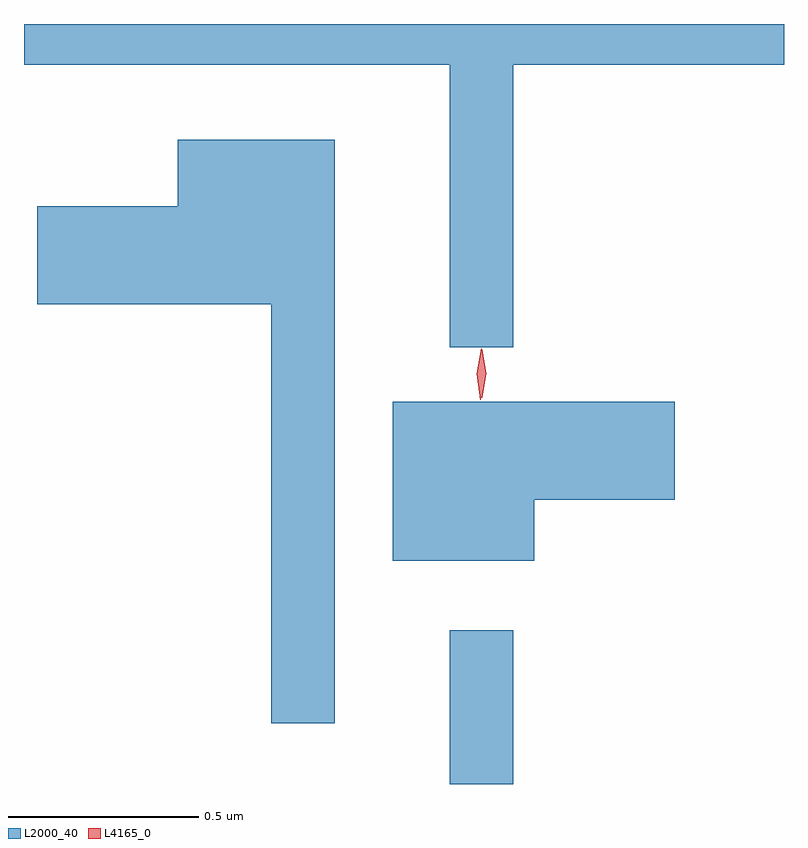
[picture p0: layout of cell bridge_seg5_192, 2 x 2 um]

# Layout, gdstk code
import gdstk
lib = gdstk.Library(unit=1e-6, precision=1e-09)
def R(c, l, rs):  # rectangles x0, y0, x1, y1
    for r in rs: c.add(gdstk.rectangle(r[:2], r[2:], *l))
def P(c, l, *ps):  # polygons
    for p in ps: c.add(gdstk.Polygon(p, *l))
L2000_40 = (2000, 40)
L4165_0 = (4165, 0)

bridge_seg5_192 = lib.new_cell('bridge_seg5_192')
R(bridge_seg5_192, L2000_40, [(1344.881,1441.583,1345.049,1441.988)])
P(bridge_seg5_192, L2000_40, [(1345.049,1443.476),(1345.761,1443.476),(1345.761,1443.583),(1343.761,1443.583),(1343.761,1443.476),(1344.881,1443.476),(1344.881,1442.733),(1345.049,1442.733)],
  [(1344.579,1443.279),(1344.166,1443.279),(1344.166,1443.104),(1343.796,1443.104),(1343.796,1442.846),(1344.411,1442.846),(1344.411,1441.743),(1344.579,1441.743)],
  [(1345.104,1442.331),(1345.474,1442.331),(1345.474,1442.589),(1344.731,1442.589),(1344.731,1442.171),(1345.104,1442.171)])
P(bridge_seg5_192, L4165_0, [(1344.962,1442.594),(1344.962,1442.594),(1344.953,1442.662),(1344.964,1442.73),(1344.964,1442.73),(1344.964,1442.73),(1344.973,1442.662),(1344.963,1442.594)],
  [(1344.966,1442.6),(1344.957,1442.664),(1344.966,1442.726),(1344.967,1442.727),(1344.967,1442.726),(1344.977,1442.664),(1344.967,1442.6),(1344.967,1442.6)])

lib.write_gds('bridge_seg5_192.gds')
